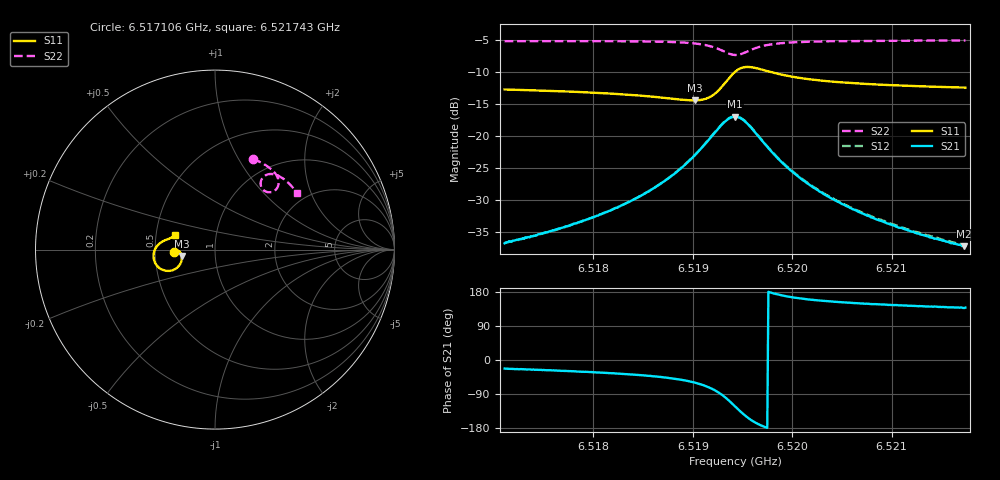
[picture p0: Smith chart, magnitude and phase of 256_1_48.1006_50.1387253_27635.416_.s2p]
#  HZ  S  RI  R  50.00
! Rohde & Schwarz Vector Network Analyzer
! Rohde-Schwarz,ZNB20-2Port,1311601062101988,3.16
! Created: UTC 12/23/2023, 4:00:17 AM
! freq[Hz]  re:S11  im:S11  re:S21  im:S21  re:S12  im:S12  re:S22  im:S22
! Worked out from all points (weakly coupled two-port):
!   401 points, 6.517106 GHz to 6.521743 GHz, reference 50 ohm
!   highest |S21| = -17.01 dB at 6.519424 GHz (marker M1); lowest = -37.3 dB at 6.521731 GHz (marker M2)
!   lowest |S11| = -14.5 dB at 6.519019 GHz (marker M3), VSWR 1.47, Z = 34.3 - j2.56 ohm
!   |S11| at or under -10 dB: start of sweep to 6.519425 GHz; 6.519775 GHz to end of sweep
!   |S22| runs from -7.4 to -5.1 dB; largest |S21 - S12| = 0.0043
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6.5171057e9  -0.2296 -0.0149  0.0133 -0.00555  0.0135 -0.00518  0.2107 0.5062
6.5174651e9  -0.2255 -0.00972  0.0153 -0.00748  0.0155 -0.00707  0.2372 0.495
6.5178825e9  -0.2193 -0.00506  0.0184 -0.011  0.0187 -0.0104  0.2679 0.4789
6.518265e9  -0.2114 -0.00332  0.0227 -0.0165  0.0233 -0.0159  0.2966 0.4607
6.5186592e9  -0.1996 -0.00853  0.0295 -0.0289  0.0306 -0.0281  0.3271 0.4346
6.5188331e9  -0.1927 -0.0168  0.0331 -0.0396  0.0347 -0.0389  0.3406 0.4178
6.5190186e9  -0.1856 -0.0361  0.0355 -0.0604  0.0375 -0.0597  0.3527 0.3915
6.5191229e9  -0.1857 -0.056  0.032 -0.0798  0.0348 -0.0794  0.3548 0.37
6.519204e9  -0.1928 -0.0781  0.0222 -0.0997  0.0252 -0.0998  0.3493 0.3492
6.5193316e9  -0.2368 -0.115  -0.0223 -0.1287  -0.0189 -0.1304  0.3153 0.3206
6.5194243e9  -0.2957 -0.1112  -0.0752 -0.1193  -0.0724 -0.1223  0.2744 0.3285
6.5194707e9  -0.3213 -0.092  -0.0959 -0.0998  -0.0938 -0.1032  0.26 0.3451
6.5195286e9  -0.3393 -0.0599  -0.1082 -0.0697  -0.1071 -0.0733  0.2541 0.37
6.519633e9  -0.3384 -0.00844  -0.1016 -0.0259  -0.1018 -0.029  0.2689 0.404
6.5197257e9  -0.3235 0.0189  -0.0858 -0.00452  -0.0864 -0.00714  0.2896 0.4174
6.5199344e9  -0.2925 0.045  -0.057 0.0115  -0.0579 0.0101  0.3281 0.42
6.520201e9  -0.2691 0.056  -0.0373 0.0145  -0.0381 0.0135  0.3601 0.4079
6.5205604e9  -0.2516 0.0627  -0.0244 0.0133  -0.0252 0.0129  0.3903 0.3876
6.5209778e9  -0.2395 0.0687  -0.0168 0.0115  -0.0174 0.0114  0.4176 0.3626
6.5214067e9  -0.2304 0.0745  -0.0124 0.01  -0.013 0.00991  0.4412 0.3365
6.5217313e9  -0.2246 0.0789  -0.01 0.00932  -0.0106 0.00911  0.4573 0.3163
6.5217429e9  -0.2244 0.0791  -0.0102 0.00915  -0.0105 0.00909  0.4578 0.3156
